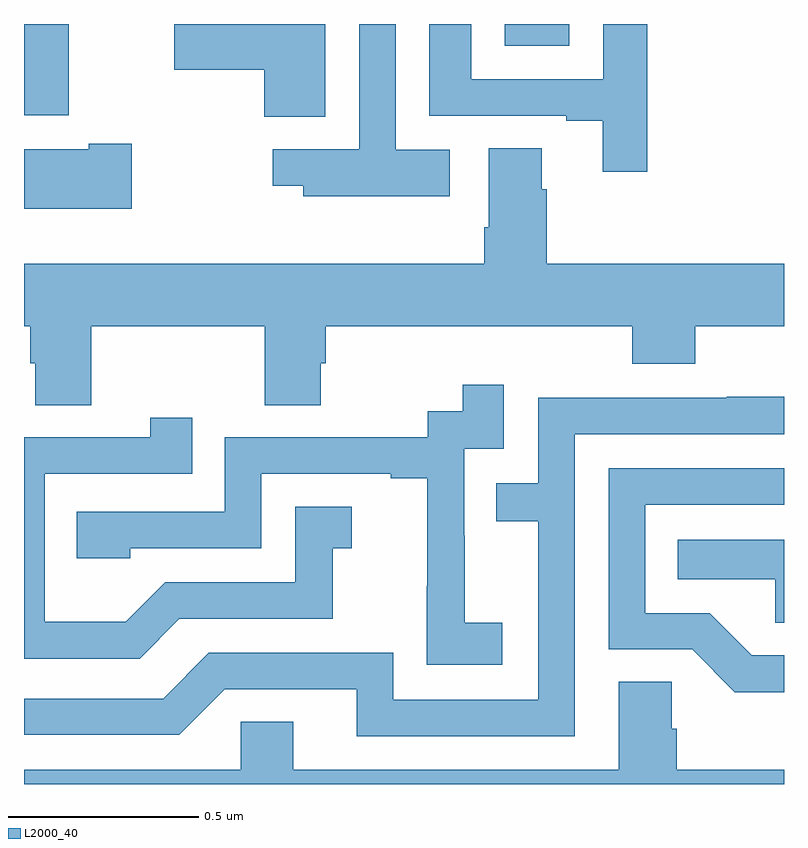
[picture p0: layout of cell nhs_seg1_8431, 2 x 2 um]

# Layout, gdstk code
import gdstk
lib = gdstk.Library(unit=1e-6, precision=1e-09)
def R(c, l, rs):  # rectangles x0, y0, x1, y1
    for r in rs: c.add(gdstk.rectangle(r[:2], r[2:], *l))
def P(c, l, *ps):  # polygons
    for p in ps: c.add(gdstk.Polygon(p, *l))
L2000_40 = (2000, 40)

nhs_seg1_8431 = lib.new_cell('nhs_seg1_8431')
R(nhs_seg1_8431, L2000_40, [(216,546.959,216.118,547.199), (217.265,547.142,217.435,547.199)])
P(nhs_seg1_8431, L2000_40, [(216.793,547.199),(216.396,547.199),(216.396,547.079),(216.632,547.079),(216.632,546.955),(216.793,546.955)],
  [(217.64,547.199),(217.524,547.199),(217.524,547.053),(217.177,547.053),(217.177,547.199),(217.067,547.199),(217.067,546.957),(217.427,546.957),(217.427,546.945),(217.523,546.945),(217.523,546.81),(217.64,546.81)],
  [(217.12,546.868),(216.978,546.868),(216.978,547.199),(216.882,547.199),(216.882,546.87),(216.654,546.87),(216.654,546.773),(216.735,546.773),(216.735,546.746),(217.12,546.746)],
  [(216.283,546.884),(216.17,546.884),(216.17,546.87),(216,546.87),(216,546.713),(216.283,546.713)],
  [(216.177,546.404),(216.634,546.404),(216.634,546.196),(216.781,546.196),(216.781,546.306),(216.794,546.306),(216.794,546.404),(217.601,546.404),(217.601,546.305),(217.766,546.305),(217.766,546.404),(218,546.404),(218,546.568),(217.376,546.568),(217.376,546.764),(217.363,546.764),(217.363,546.872),(217.223,546.872),(217.223,546.664),(217.211,546.664),(217.211,546.568),(216,546.568),(216,546.404),(216.017,546.404),(216.017,546.306),(216.029,546.306),(216.029,546.196),(216.177,546.196)],
  [(217.258,545.623),(217.16,545.623),(217.16,545.852),(217.158,545.852),(217.158,546.081),(217.263,546.081),(217.263,546.25),(217.155,546.25),(217.155,546.18),(217.062,546.18),(217.062,546.111),(216.528,546.111),(216.528,545.916),(216.139,545.916),(216.139,545.793),(216.279,545.793),(216.279,545.82),(216.624,545.82),(216.624,546.015),(216.965,546.015),(216.965,546.003),(217.061,546.003),(217.061,545.719),(217.06,545.719),(217.06,545.513),(217.258,545.513)],
  [(217.449,546.12),(218,546.12),(218,546.218),(217.849,546.218),(217.849,546.216),(217.353,546.216),(217.353,545.991),(217.243,545.991),(217.243,545.89),(217.353,545.89),(217.353,545.421),(216.972,545.421),(216.972,545.544),(216.486,545.544),(216.366,545.424),(216,545.424),(216,545.328),(216.408,545.328),(216.528,545.448),(216.875,545.448),(216.875,545.325),(217.449,545.325)],
  [(216.409,545.634),(216.813,545.634),(216.813,545.819),(216.862,545.819),(216.862,545.929),(216.714,545.929),(216.714,545.73),(216.372,545.73),(216.268,545.626),(216.054,545.626),(216.054,546.015),(216.443,546.015),(216.443,546.163),(216.332,546.163),(216.332,546.111),(216,546.111),(216,545.529),(216.304,545.529)],
  [(218,545.538),(217.915,545.538),(217.804,545.649),(217.635,545.649),(217.635,545.934),(218,545.934),(218,546.03),(217.539,546.03),(217.539,545.553),(217.758,545.553),(217.871,545.441),(218,545.441)],
  [(218,545.842),(217.72,545.842),(217.72,545.738),(217.977,545.738),(217.977,545.623),(218,545.623)],
  [(217.704,545.345),(217.704,545.468),(217.565,545.468),(217.565,545.236),(216.709,545.236),(216.709,545.363),(216.57,545.363),(216.57,545.236),(216,545.236),(216,545.199),(218,545.199),(218,545.236),(217.718,545.236),(217.718,545.345)])

lib.write_gds('nhs_seg1_8431.gds')
